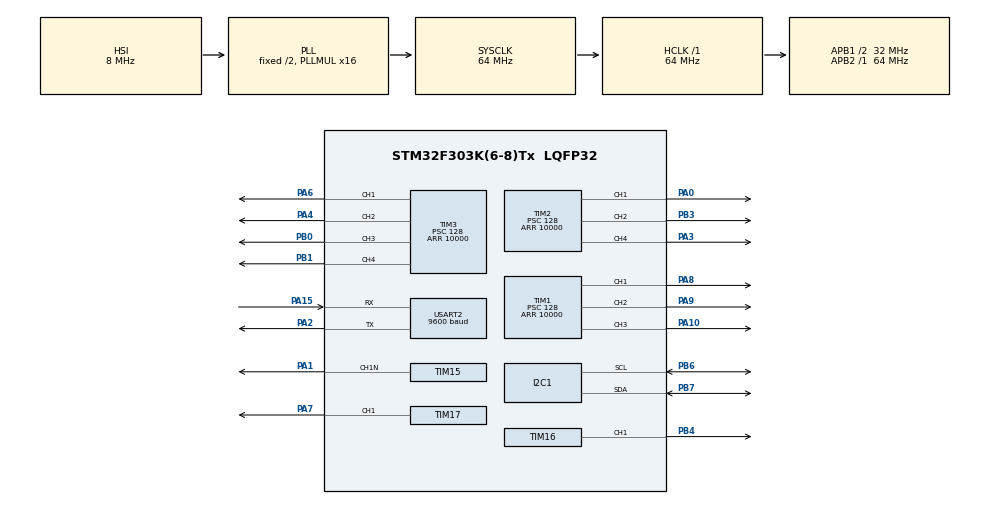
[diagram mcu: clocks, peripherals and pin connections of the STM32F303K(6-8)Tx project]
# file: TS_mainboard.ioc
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I2C1.Timing=0x10707DBC
Mcu.Family=STM32F3
Mcu.Name=STM32F303K(6-8)Tx
Mcu.Package=LQFP32
NVIC.I2C1_EV_IRQn=true\:0\:0\:false\:false\:true\:true\:true\:true
NVIC.PriorityGroup=NVIC_PRIORITYGROUP_4
NVIC.USART2_IRQn=true\:0\:0\:false\:false\:true\:true\:true\:true
PA0.Signal=S_TIM2_CH1_ETR
PA1.Mode=PWM Generation1 CH1N
PA1.Signal=TIM15_CH1N
PA10.Signal=S_TIM1_CH3
PA15.Mode=Asynchronous
PA15.Signal=USART2_RX
PA2.Mode=Asynchronous
PA2.Signal=USART2_TX
PA3.Signal=S_TIM2_CH4
PA4.Signal=S_TIM3_CH2
PA6.Signal=S_TIM3_CH1
PA7.Signal=S_TIM17_CH1
PA8.Signal=S_TIM1_CH1
PA9.Signal=S_TIM1_CH2
PB0.Signal=S_TIM3_CH3
PB1.Signal=S_TIM3_CH4
PB3.Signal=S_TIM2_CH2
PB4.Signal=S_TIM16_CH1
PB6.Mode=I2C
PB6.Signal=I2C1_SCL
PB7.Mode=I2C
PB7.Signal=I2C1_SDA
ProjectManager.HeapSize=0x200
ProjectManager.StackSize=0x400
ProjectManager.TargetToolchain=STM32CubeIDE
RCC.AHBFreq_Value=64000000
RCC.APB1CLKDivider=RCC_HCLK_DIV2
RCC.APB1Freq_Value=32000000
RCC.APB1TimFreq_Value=64000000
RCC.APB2Freq_Value=64000000
RCC.APB2TimFreq_Value=64000000
RCC.CortexFreq_Value=64000000
RCC.HCLKFreq_Value=64000000
RCC.HSE_VALUE=8000000
RCC.HSI_VALUE=8000000
RCC.I2c1ClockSelection=RCC_I2C1CLKSOURCE_SYSCLK
RCC.PLLMUL=RCC_PLL_MUL16
RCC.SYSCLKFreq_VALUE=64000000
RCC.SYSCLKSourceVirtual=RCC_SYSCLKSOURCE_PLLCLK
SH.S_TIM16_CH1.0=TIM16_CH1,PWM Generation1 CH1
SH.S_TIM17_CH1.0=TIM17_CH1,PWM Generation1 CH1
SH.S_TIM1_CH1.0=TIM1_CH1,PWM Generation1 CH1
SH.S_TIM1_CH2.0=TIM1_CH2,PWM Generation2 CH2
SH.S_TIM1_CH3.0=TIM1_CH3,PWM Generation3 CH3
SH.S_TIM2_CH1_ETR.0=TIM2_CH1,PWM Generation1 CH1
SH.S_TIM2_CH2.0=TIM2_CH2,PWM Generation2 CH2
SH.S_TIM2_CH4.0=TIM2_CH4,PWM Generation4 CH4
SH.S_TIM3_CH1.0=TIM3_CH1,PWM Generation1 CH1
SH.S_TIM3_CH2.0=TIM3_CH2,PWM Generation2 CH2
SH.S_TIM3_CH3.0=TIM3_CH3,PWM Generation3 CH3
SH.S_TIM3_CH4.0=TIM3_CH4,PWM Generation4 CH4
TIM1.Channel-PWM\ Generation1\ CH1=TIM_CHANNEL_1
TIM1.Channel-PWM\ Generation2\ CH2=TIM_CHANNEL_2
TIM1.Channel-PWM\ Generation3\ CH3=TIM_CHANNEL_3
TIM1.Period=10000
TIM1.Prescaler=128
TIM1.Pulse-PWM\ Generation1\ CH1=0
TIM1.Pulse-PWM\ Generation2\ CH2=0
TIM1.Pulse-PWM\ Generation3\ CH3=0
TIM15.Channel-PWM\ Generation1\ CH1N=TIM_CHANNEL_1
TIM15.Period=10000
TIM15.Prescaler=128
TIM15.Pulse-PWM\ Generation1\ CH1N=0
TIM16.Channel=TIM_CHANNEL_1
TIM16.Period=10000
TIM16.Prescaler=128
TIM16.Pulse=0
TIM17.Channel=TIM_CHANNEL_1
TIM17.Period=10000
TIM17.Prescaler=128
TIM17.Pulse=0
TIM2.Channel-PWM\ Generation1\ CH1=TIM_CHANNEL_1
TIM2.Channel-PWM\ Generation2\ CH2=TIM_CHANNEL_2
TIM2.Channel-PWM\ Generation4\ CH4=TIM_CHANNEL_4
TIM2.Period=10000
TIM2.Prescaler=128
TIM2.Pulse-PWM\ Generation1\ CH1=0
TIM2.Pulse-PWM\ Generation2\ CH2=128
TIM3.Channel-PWM\ Generation1\ CH1=TIM_CHANNEL_1
TIM3.Channel-PWM\ Generation2\ CH2=TIM_CHANNEL_2
TIM3.Channel-PWM\ Generation3\ CH3=TIM_CHANNEL_3
TIM3.Channel-PWM\ Generation4\ CH4=TIM_CHANNEL_4
TIM3.Period=10000
TIM3.Prescaler=128
TIM3.Pulse-PWM\ Generation1\ CH1=0
TIM3.Pulse-PWM\ Generation2\ CH2=0
TIM3.Pulse-PWM\ Generation3\ CH3=0
TIM3.Pulse-PWM\ Generation4\ CH4=0
USART2.BaudRate=9600
USART2.VirtualMode-Asynchronous=VM_ASYNC
VP_TIM16_VS_ClockSourceINT.Mode=Enable_Timer
VP_TIM17_VS_ClockSourceINT.Mode=Enable_Timer
board=custom

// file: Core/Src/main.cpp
/* USER CODE BEGIN Header */
/**
/******************************************************************************
* @file           : main.c
* @brief          : Main program body
/******************************************************************************
* @attention
*
* Copyright (c) 2023 STMicroelectronics.
* All rights reserved.
*
* This software is licensed under terms that can be found in the LICENSE file
* in the root directory of this software component.
* If no LICENSE file comes with this software, it is provided AS-IS.
*
******************************************************************************
*/
/* USER CODE END Header */
#include "main.h"
#include "usart.h"
#include "gpio.h"
#include "i2c.h"
#include "tim.h"
/* USER CODE BEGIN Includes */
#include "can.hpp"
#include "walk.hpp"
#include <stdio.h>
/* USER CODE END Includes */

/* USER CODE BEGIN PD */
// #define TRANSMITTER
//  #define RECEIVER
#define MPU9250_ADDRESS 0b1101000<<1
#define MPU9250
/* USER CODE END PD */

void SystemClock_Config(void);
/* USER CODE BEGIN PFP */

static void can_transmitdata(uint32_t stdid, uint32_t dlc, uint32_t grobaltime, uint32_t data[8]);
static void can_receivedata(uint32_t stdid, uint32_t rtr, uint32_t dlc, uint32_t timestamp, uint32_t matchindex, uint32_t data[8], CanFilterInit canfinit);
static void System_Init();
static void Can_Init();
static void Can_Filter_Init();
static void MPU9250_GetData();

/* USER CODE END PFP */

/* USER CODE BEGIN 0 */

CanFilterInit cfinit;
extern "C" void CAN_RX0_IRQHandler(void);
// for use printf
extern "C"
{
  int _write(int file, char *ptr, int len)
  {
    HAL_UART_Transmit(&huart2, (uint8_t *)ptr, len, 10);
    return len;
  }
}

/* USER CODE END 0 */

int main(void)
{
  /* USER CODE BEGIN 1 */
  setbuf(stdout, NULL);

  /* USER CODE END 1 */

  /* MCU Configuration--------------------------------------------------------*/

  /* Reset of all peripherals, Initializes the Flash interface and the Systick. */
  HAL_Init();

  /* USER CODE BEGIN Init */
  /* CAN clock enable */
  /* USER CODE END Init */

  /* Configure the system clock */
  SystemClock_Config();

  /* Initialize all configured peripherals */

  MX_GPIO_Init();
  MX_TIM16_Init();
  MX_TIM17_Init();
  MX_I2C1_Init();
  MX_USART2_UART_Init();
  MX_TIM1_Init();
  MX_TIM2_Init();
  MX_TIM3_Init();
  MX_TIM15_Init();

  /* USER CODE BEGIN 2 */

  // System_Init();

  // Can_Init();
  // Can_Filter_Init();

  // timer count max 10000 pwm 50Hz
 //PA6 PA5 can't use pwm
  HAL_TIM_PWM_Start(&htim1, TIM_CHANNEL_1);
  HAL_TIM_PWM_Start(&htim1, TIM_CHANNEL_2);
  HAL_TIM_PWM_Start(&htim1, TIM_CHANNEL_3);
  HAL_TIM_PWM_Start(&htim2, TIM_CHANNEL_1);
  HAL_TIM_PWM_Start(&htim2, TIM_CHANNEL_2);
  HAL_TIM_PWM_Start(&htim2, TIM_CHANNEL_4);
  HAL_TIM_PWM_Start(&htim3, TIM_CHANNEL_1);
  HAL_TIM_PWM_Start(&htim3, TIM_CHANNEL_2);
  HAL_TIM_PWM_Start(&htim3, TIM_CHANNEL_3);
  HAL_TIM_PWM_Start(&htim3, TIM_CHANNEL_4);
  HAL_TIMEx_PWMN_Start(&htim15, TIM_CHANNEL_1);
  //HAL_TIM_PWM_Start(&htim16, TIM_CHANNEL_1);
  HAL_TIM_PWM_Start(&htim17, TIM_CHANNEL_1);

  // init leg servo {timer,channel}
  servo_num s0[3] = {{&htim1, TIM_CHANNEL_1}, {&htim1, TIM_CHANNEL_2}, {&htim1, TIM_CHANNEL_3}};   // PA8 PA9 PA10
  servo_num s1[3] = {{&htim2, TIM_CHANNEL_1}, {&htim2, TIM_CHANNEL_2}, {&htim2, TIM_CHANNEL_4}};   // PA0 PB3 PA3
  servo_num s2[3] = {{&htim3, TIM_CHANNEL_1}, {&htim3, TIM_CHANNEL_2}, {&htim3, TIM_CHANNEL_3}};   // PA6 PA4 PB0
  servo_num s3[3] = {{&htim3, TIM_CHANNEL_4}, {&htim16, TIM_CHANNEL_1}, {&htim17, TIM_CHANNEL_1}}; // PB1 PB4 PA7

  servo_num center_s = {&htim15, TIM_CHANNEL_1}; // PA1
  tr_legs legs[4] = {s0, s1, s2, s3};
  walk upper_leg(legs, center_s);

  // wake up mpu 9250---------------

  uint8_t wu[1] = {0x00};
  int b = HAL_I2C_Mem_Write(&hi2c1, MPU9250_ADDRESS, 0x6b, I2C_MEMADD_SIZE_8BIT, wu, 0x01, 100);
  printf("%d\n", b);
  // set accelsensor  range----------
  uint8_t st[1] = {0x18};
  HAL_I2C_Mem_Write(&hi2c1, MPU9250_ADDRESS, 0x1c, I2C_MEMADD_SIZE_8BIT, st, 0x01, 100);
  /* USER CODE END 2 */

  /* Infinite loop */
  /* USER CODE BEGIN WHILE */
  //I2C1->CR1|=0b1<<1;
  //I2C1->CR1|=0b1<<7;
  while (1)
  {
#ifdef MPU9250
    /*
     uint8_t who_i_im[1]={0x00};
     int a=HAL_I2C_Mem_Read(&hi2c1, MPU9250_ADDRESS, 0x75, I2C_MEMADD_SIZE_8BIT, who_i_im, 0x01, 100);
     printf("%s","a");
     printf("%d\n",who_i_im[0]);
    */
    MPU9250_GetData();
#endif

// printf("%d\n", 1);
#ifdef TRANSMITTER
    uint32_t id = 3;
    uint32_t datasize = 8;
    uint32_t gtime = 0;
    uint32_t data[8] = {0, 0, 0, 0, 1, 1, 1, 1};

    if (datasize > 8)
      datasize = 8;
    can_transmitdata(id, datasize, gtime, data);
#endif
    // Servo_Start(center_s,0);
    //__HAL_TIM_SET_COMPARE(&htim1,TIM_CHANNEL_1,5000);
    //  upper_leg.spraddle_legs(M_PI/2);
    //  upper_leg.walking(M_PI/2);
    /* USER CODE END WHILE */

  }
}

void SystemClock_Config(void)
{
  RCC_OscInitTypeDef RCC_OscInitStruct = {0};
  RCC_ClkInitTypeDef RCC_ClkInitStruct = {0};
  RCC_PeriphCLKInitTypeDef PeriphClkInit = {0};

  /** Initializes the RCC Oscillators according to the specified parameters
   * in the RCC_OscInitTypeDef structure.
   */
  RCC_OscInitStruct.OscillatorType = RCC_OSCILLATORTYPE_HSI;
  RCC_OscInitStruct.HSIState = RCC_HSI_ON;
  RCC_OscInitStruct.HSICalibrationValue = RCC_HSICALIBRATION_DEFAULT;
  RCC_OscInitStruct.PLL.PLLState = RCC_PLL_ON;
  RCC_OscInitStruct.PLL.PLLSource = RCC_PLLSOURCE_HSI;
  RCC_OscInitStruct.PLL.PLLMUL = RCC_PLL_MUL16;
  if (HAL_RCC_OscConfig(&RCC_OscInitStruct) != HAL_OK)
  {
    Error_Handler();
  }

  /** Initializes the CPU, AHB and APB buses clocks
   */
  RCC_ClkInitStruct.ClockType = RCC_CLOCKTYPE_HCLK | RCC_CLOCKTYPE_SYSCLK | RCC_CLOCKTYPE_PCLK1 | RCC_CLOCKTYPE_PCLK2;
  RCC_ClkInitStruct.SYSCLKSource = RCC_SYSCLKSOURCE_PLLCLK;
  RCC_ClkInitStruct.AHBCLKDivider = RCC_SYSCLK_DIV1;
  RCC_ClkInitStruct.APB1CLKDivider = RCC_HCLK_DIV2;
  RCC_ClkInitStruct.APB2CLKDivider = RCC_HCLK_DIV1;

  if (HAL_RCC_ClockConfig(&RCC_ClkInitStruct, FLASH_LATENCY_2) != HAL_OK)
  {
    Error_Handler();
  }
  PeriphClkInit.PeriphClockSelection = RCC_PERIPHCLK_I2C1 | RCC_PERIPHCLK_TIM1;
  PeriphClkInit.I2c1ClockSelection = RCC_I2C1CLKSOURCE_HSI;
  PeriphClkInit.Tim1ClockSelection = RCC_TIM1CLK_HCLK;
  if (HAL_RCCEx_PeriphCLKConfig(&PeriphClkInit) != HAL_OK)
  {
    Error_Handler();
  }
}
/* USER CODE BEGIN 4 */

extern "C"
{
  void CAN_RX0_IRQHandler(void)
  {
    uint32_t rid = 3;
    uint32_t rtr = 0;
    uint32_t rdatasize = 8;
    uint32_t timestamp = 0;
    uint32_t matchindex = 0;
    uint32_t rdata[8] = {NULL};

    // Error_Handler();
    can_receivedata(rid, rtr, rdatasize, timestamp, matchindex, rdata, cfinit);

    // start move---------------------------------------------------------------
    if (rdata != NULL)
    {
      // printf("%d",3);
    }
  }
}
void can_transmitdata(uint32_t stdid, uint32_t dlc, uint32_t grobaltime, uint32_t data[8])
{
  CanTxHeader cantxheader;
  cantxheader.transmit_id_StdId = stdid;
  cantxheader.transmit_datasize_DLC = dlc;
  cantxheader.transmit_grobaltime = grobaltime;
  for (int i = 0; i < 8; i++)
    cantxheader.transmit_data[i] = data[i];

  can_add_txmessage(cantxheader);
  while (can_get_mailboxfreelevel() != 3)
    ;
  // printf("%f", can_get_mailboxfreelevel()); // wait until transmit fiish
}
void can_receivedata(uint32_t stdid, uint32_t rtr, uint32_t dlc, uint32_t timestamp, uint32_t matchindex, uint32_t data[8], CanFilterInit canfinit)
{
  CanRxHeader canrxheader;
  canrxheader.receive_id_StdId = stdid;
  canrxheader.receive_rtr = rtr;
  canrxheader.receive_datasize_DLC = dlc;
  canrxheader.receive_timestamp = timestamp;
  canrxheader.receive_filtermatchindex = matchindex;
  for (int i = 0; i < 8; i++)
    canrxheader.receive_data[i] = data[i];

  can_get_rxmessage(canrxheader, canfinit);
  /*
   printf("%s", "data[7]:");
   printf("%u\n", canrxheader.receive_data[7]);

   printf("%s", "data[0]:");
   printf("%u\n", canrxheader.receive_data[0]);
  */
}
static void System_Init()
{
  SYSTEMInit systeminit;
  systeminit.pll_mlutiple = 0b1110;
  systeminit.apb1_ps = 0b100;
  systeminit.latency = 0b010;
  system_init(systeminit);
}
static void Can_Init()
{
  CanInit caninit;
  caninit.mcr_time_triger = 0;   // disable time triger mode
  caninit.mcr_bussoff = 0;       // disable auto bussoff
  caninit.mcr_wakeup = 0;        // disable auto wakeup
  caninit.mcr_retransmit = 0;    // 0 restrict retransmit
  caninit.mcr_fifo_lock = 0;     // enable fifo lockmode
  caninit.mcr_fifo_priority = 0; // Priority is determined by the order of requests (0: identifier of message)
  caninit.btr_debug_silent = 0;
  caninit.btr_debug_loopback = 0; // 1 enable 0 disable
  caninit.btr_prescalar = 0b100;
  caninit.btr_swj = 1;
  caninit.btr_tseg1 = 0b1011;
  caninit.btr_tseg2 = 0b100;
  can_init(caninit);
}

static void Can_Filter_Init()
{

  cfinit.fm1r_filtermode = 1;
  cfinit.filter_scale = 16;
  cfinit.fm1r_fifo_number = 0;
  cfinit.fm1r_filter_number = 0;
  cfinit.f0r1_device_id1 = 3;
  cfinit.f0r1_device_id2 = 0;
  cfinit.f0r1_device_id3 = 0;
  cfinit.f0r1_device_id4 = 0;

  can_filter_init(cfinit);
}

static void MPU9250_GetData()
{

  uint8_t accelx_h[1]={0}, accelx_l[1]={0},accely_h[1]={0},accely_l[1]={0}, accelz_h[1]={0},accelz_l[1]={0};
  uint8_t gyrox_h[1]={0}, gyrox_l[1]={0},gyroy_h[1]={0},gyroy_l[1]={0} ,gyroz_h[1]={0},gyroz_l[1]={0};

  HAL_I2C_Mem_Read(&hi2c1, MPU9250_ADDRESS, 0x3b, I2C_MEMADD_SIZE_8BIT, accelx_h, 1, 100);
  HAL_I2C_Mem_Read(&hi2c1, MPU9250_ADDRESS, 0x3c, I2C_MEMADD_SIZE_8BIT, accelx_l, 1, 100);
  HAL_I2C_Mem_Read(&hi2c1, MPU9250_ADDRESS, 0x3d, I2C_MEMADD_SIZE_8BIT, accely_h, 1, 100);
  HAL_I2C_Mem_Read(&hi2c1, MPU9250_ADDRESS, 0x3e, I2C_MEMADD_SIZE_8BIT, accely_l, 1, 100);
  HAL_I2C_Mem_Read(&hi2c1, MPU9250_ADDRESS, 0x3f, I2C_MEMADD_SIZE_8BIT, accelz_h, 1, 100);
  HAL_I2C_Mem_Read(&hi2c1, MPU9250_ADDRESS, 0x40, I2C_MEMADD_SIZE_8BIT, accelz_l, 1, 100);

  HAL_I2C_Mem_Read(&hi2c1, MPU9250_ADDRESS, 0x43, I2C_MEMADD_SIZE_8BIT, gyrox_h, 1, 100);
  HAL_I2C_Mem_Read(&hi2c1, MPU9250_ADDRESS, 0x44, I2C_MEMADD_SIZE_8BIT, gyrox_l, 1, 100);
  HAL_I2C_Mem_Read(&hi2c1, MPU9250_ADDRESS, 0x45, I2C_MEMADD_SIZE_8BIT, gyroy_h, 1, 100);
  HAL_I2C_Mem_Read(&hi2c1, MPU9250_ADDRESS, 0x46, I2C_MEMADD_SIZE_8BIT, gyroy_l, 1, 100);
  HAL_I2C_Mem_Read(&hi2c1, MPU9250_ADDRESS, 0x47, I2C_MEMADD_SIZE_8BIT, gyroz_h, 1, 100);
  HAL_I2C_Mem_Read(&hi2c1, MPU9250_ADDRESS, 0x48, I2C_MEMADD_SIZE_8BIT, gyroz_l, 1, 100);

  int16_t accelx=(accelx_h[0]<<8)|accelx_l[0];
  int16_t accely=(accely_h[0]<<8)|accely_l[0];
  int16_t accelz=(accelz_h[0]<<8)|accelz_l[0];

  int16_t gyrox=(gyrox_h[0]<<8)|gyrox_l[0];
  int16_t gyroy=(gyroy_h[0]<<8)|gyroy_l[0];
  int16_t gyroz=(gyroz_h[0]<<8)|gyroz_l[0];

  //int16_t a[6]={accelx,accely,accelz,gyrox,gyroy,gyroz};
  //return a;

   printf("%s","x:");
   printf("%d\n",gyroz_h[0]);
}
/* USER CODE END 4 */

void Error_Handler(void)
{
  __disable_irq();
  while (1)
  {
  }
}

#ifdef USE_FULL_ASSERT
/**
 * @brief  Reports the name of the source file and the source line number
 *         where the assert_param error has occurred.
 * @param  file: pointer to the source file name
 * @param  line: assert_param error line source number
 * @retval None
 */
void assert_failed(uint8_t *file, uint32_t line)
{
  /* USER CODE BEGIN 6 */
  /* User can add his own implementation to report the file name and line number,
   //ex: printf("Wrong parameters value: file %s on line %d\r\n", file, line) */
  /* USER CODE END 6 */
}
#endif /* USE_FULL_ASSERT */
